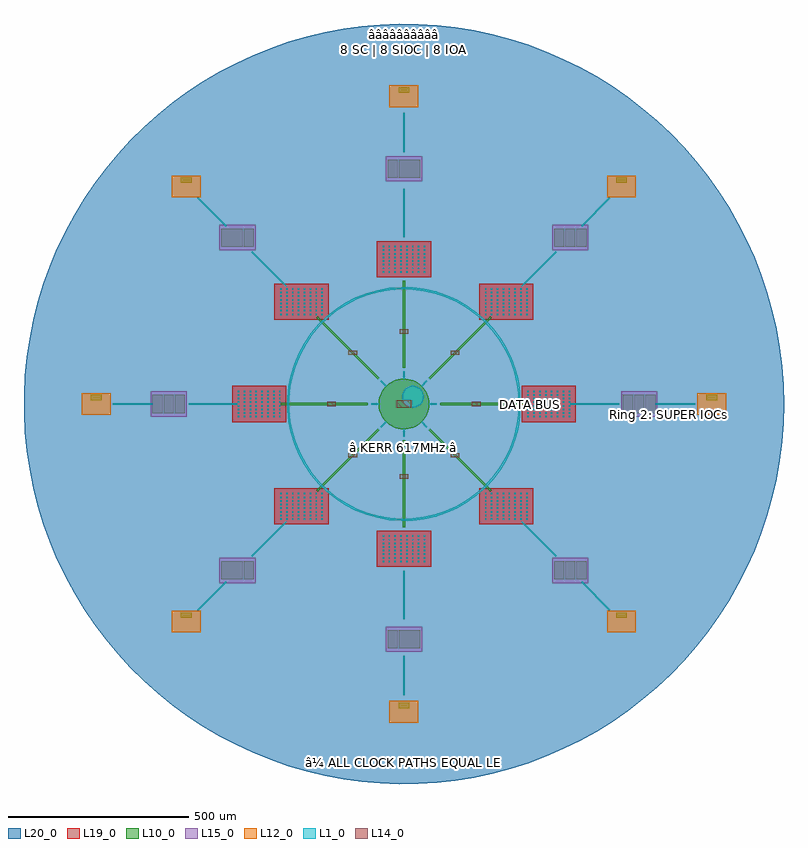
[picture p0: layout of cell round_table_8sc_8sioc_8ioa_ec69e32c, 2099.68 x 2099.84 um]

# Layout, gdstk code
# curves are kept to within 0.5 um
import gdstk
lib = gdstk.Library(unit=1e-6, precision=1e-09)
def R(c, l, rs):  # rectangles x0, y0, x1, y1
    for r in rs: c.add(gdstk.rectangle(r[:2], r[2:], *l))
def A(c, l, x, y, w, h, nx, ny, dx, dy):  # array of equal rectangles
    R(c, l, [(x+i*dx, y+j*dy, x+i*dx+w, y+j*dy+h) for i in range(nx) for j in range(ny)])
def P(c, l, *ps):  # polygons
    for p in ps: c.add(gdstk.Polygon(p, *l))
L1_0 = (1, 0)
L10_0 = (10, 0)
L12_0 = (12, 0)
L14_0 = (14, 0)
L15_0 = (15, 0)
L19_0 = (19, 0)
L20_0 = (20, 0)

kerr_clock_hub_cb069dfc = lib.new_cell('kerr_clock_hub_cb069dfc')
R(kerr_clock_hub_cb069dfc, L1_0, [(-2,-90,2,-70), (-90,-2,-70,2), (70,-2,90,2), (-2,70,2,90)])
P(kerr_clock_hub_cb069dfc, L1_0, [(24.252,-9.991),(18.324,-9.248),(12.661,-7.345),(7.488,-4.358),(3.008,-0.405),(-0.599,4.357),(-3.191,9.739),(-4.963,18.505),(-4.665,24.471),(-3.191,30.261),(-0.599,35.643),(3.008,40.405),(7.488,44.358),(12.661,47.345),(18.324,49.248),(24.252,49.991),(30.209,49.544),(35.96,47.926),(41.276,45.201),(45.947,41.476),(49.787,36.9),(52.644,31.653),(54.405,25.944),(55,20),(54.405,14.056),(52.644,8.347),(49.787,3.1),(45.947,-1.476),(41.276,-5.201),(35.96,-7.926),(30.209,-9.544)],
  [(50.912,48.083),(48.083,50.912),(62.225,65.054),(65.054,62.225)],
  [(-50.912,48.083),(-65.054,62.225),(-62.225,65.054),(-48.083,50.912)],
  [(-62.225,-65.054),(-65.054,-62.225),(-50.912,-48.083),(-48.083,-50.912)],
  [(62.225,-65.054),(48.083,-50.912),(50.912,-48.083),(65.054,-62.225)])
P(kerr_clock_hub_cb069dfc, L10_0, [(-1.745,-69.978),(-8.704,-69.457),(-22.294,-66.355),(-35,-60.622),(-46.318,-52.485),(-55.799,-42.266),(-63.068,-30.372),(-67.835,-17.273),(-69.913,-3.489),(-69.218,10.433),(-65.778,23.941),(-59.73,36.5),(-51.314,47.612),(-40.862,56.836),(-28.79,63.805),(-15.576,68.245),(-1.745,69.978),(12.155,68.937),(25.574,65.161),(37.978,58.802),(48.877,50.111),(57.837,39.432),(64.503,27.19),(68.612,13.87),(70,0),(68.612,-13.87),(64.503,-27.19),(57.837,-39.432),(48.877,-50.111),(37.978,-58.802),(25.574,-65.161),(12.155,-68.937)])
R(kerr_clock_hub_cb069dfc, L14_0, [(-20,-10,20,10)])
P(kerr_clock_hub_cb069dfc, L20_0, [(-2.493,-99.969),(-22.252,-97.493),(-41.129,-91.151),(-50,-86.603),(-66.169,-74.978),(-79.713,-60.38),(-90.097,-43.388),(-96.908,-24.676),(-99.876,-4.985),(-98.883,14.904),(-93.969,34.202),(-85.329,52.144),(-73.305,68.017),(-58.374,81.194),(-41.129,91.151),(-22.252,97.493),(-2.493,99.969),(17.365,98.481),(36.534,93.087),(54.255,84.003),(69.824,71.587),(82.624,56.332),(92.148,38.843),(98.017,19.815),(100,0),(98.017,-19.815),(92.148,-38.843),(82.624,-56.332),(69.824,-71.587),(54.255,-84.003),(36.534,-93.087),(17.365,-98.481)])
kerr_clock_hub_cb069dfc.add(gdstk.Label('KERR', (25,20), layer=100, texttype=0))
kerr_clock_hub_cb069dfc.add(gdstk.Label('617 MHz', (0,-40), layer=100, texttype=0))
kerr_clock_hub_cb069dfc.add(gdstk.Label('CLOCK HUB', (0,85), layer=100, texttype=0))

sc_module_0_3a25202a = lib.new_cell('sc_module_0_3a25202a')
A(sc_module_0_3a25202a, L1_0, 16.125, 13, 4, 4, 8, 8, 16.25, 10)
R(sc_module_0_3a25202a, L19_0, [(0,0,150,100)])
sc_module_0_3a25202a.add(gdstk.Label('SC-0', (75,50), layer=100, texttype=0))
sc_module_0_3a25202a.add(gdstk.Label('243Ã\x97243', (75,35), layer=100, texttype=0))

sc_module_1_5aa2c9c8 = lib.new_cell('sc_module_1_5aa2c9c8')
A(sc_module_1_5aa2c9c8, L1_0, 16.125, 13, 4, 4, 8, 8, 16.25, 10)
R(sc_module_1_5aa2c9c8, L19_0, [(0,0,150,100)])
sc_module_1_5aa2c9c8.add(gdstk.Label('SC-1', (75,50), layer=100, texttype=0))
sc_module_1_5aa2c9c8.add(gdstk.Label('243Ã\x97243', (75,35), layer=100, texttype=0))

sc_module_2_f2e90395 = lib.new_cell('sc_module_2_f2e90395')
A(sc_module_2_f2e90395, L1_0, 16.125, 13, 4, 4, 8, 8, 16.25, 10)
R(sc_module_2_f2e90395, L19_0, [(0,0,150,100)])
sc_module_2_f2e90395.add(gdstk.Label('SC-2', (75,50), layer=100, texttype=0))
sc_module_2_f2e90395.add(gdstk.Label('243Ã\x97243', (75,35), layer=100, texttype=0))

sc_module_3_a5796138 = lib.new_cell('sc_module_3_a5796138')
A(sc_module_3_a5796138, L1_0, 16.125, 13, 4, 4, 8, 8, 16.25, 10)
R(sc_module_3_a5796138, L19_0, [(0,0,150,100)])
sc_module_3_a5796138.add(gdstk.Label('SC-3', (75,50), layer=100, texttype=0))
sc_module_3_a5796138.add(gdstk.Label('243Ã\x97243', (75,35), layer=100, texttype=0))

sc_module_4_84ebc824 = lib.new_cell('sc_module_4_84ebc824')
A(sc_module_4_84ebc824, L1_0, 16.125, 13, 4, 4, 8, 8, 16.25, 10)
R(sc_module_4_84ebc824, L19_0, [(0,0,150,100)])
sc_module_4_84ebc824.add(gdstk.Label('SC-4', (75,50), layer=100, texttype=0))
sc_module_4_84ebc824.add(gdstk.Label('243Ã\x97243', (75,35), layer=100, texttype=0))

sc_module_5_9849b2e9 = lib.new_cell('sc_module_5_9849b2e9')
A(sc_module_5_9849b2e9, L1_0, 16.125, 13, 4, 4, 8, 8, 16.25, 10)
R(sc_module_5_9849b2e9, L19_0, [(0,0,150,100)])
sc_module_5_9849b2e9.add(gdstk.Label('SC-5', (75,50), layer=100, texttype=0))
sc_module_5_9849b2e9.add(gdstk.Label('243Ã\x97243', (75,35), layer=100, texttype=0))

sc_module_6_5569bb0a = lib.new_cell('sc_module_6_5569bb0a')
A(sc_module_6_5569bb0a, L1_0, 16.125, 13, 4, 4, 8, 8, 16.25, 10)
R(sc_module_6_5569bb0a, L19_0, [(0,0,150,100)])
sc_module_6_5569bb0a.add(gdstk.Label('SC-6', (75,50), layer=100, texttype=0))
sc_module_6_5569bb0a.add(gdstk.Label('243Ã\x97243', (75,35), layer=100, texttype=0))

sc_module_7_ca52da6f = lib.new_cell('sc_module_7_ca52da6f')
A(sc_module_7_ca52da6f, L1_0, 16.125, 13, 4, 4, 8, 8, 16.25, 10)
R(sc_module_7_ca52da6f, L19_0, [(0,0,150,100)])
sc_module_7_ca52da6f.add(gdstk.Label('SC-7', (75,50), layer=100, texttype=0))
sc_module_7_ca52da6f.add(gdstk.Label('243Ã\x97243', (75,35), layer=100, texttype=0))

sioc_slot_0_29fcc53c = lib.new_cell('sioc_slot_0_29fcc53c')
R(sioc_slot_0_29fcc53c, L10_0, [(5,10,33.333,60), (35.833,10,64.167,60), (66.667,10,95,60)])
R(sioc_slot_0_29fcc53c, L15_0, [(0,0,100,70)])
sioc_slot_0_29fcc53c.add(gdstk.Label('WL', (19.167,35), layer=100, texttype=0))
sioc_slot_0_29fcc53c.add(gdstk.Label('AS', (50,35), layer=100, texttype=0))
sioc_slot_0_29fcc53c.add(gdstk.Label('RC', (80.833,35), layer=100, texttype=0))
sioc_slot_0_29fcc53c.add(gdstk.Label('SIOC-0', (50,65), layer=100, texttype=0))

sioc_slot_1_ebdcf599 = lib.new_cell('sioc_slot_1_ebdcf599')
R(sioc_slot_1_ebdcf599, L10_0, [(5,10,33.333,60), (35.833,10,64.167,60), (66.667,10,95,60)])
R(sioc_slot_1_ebdcf599, L15_0, [(0,0,100,70)])
sioc_slot_1_ebdcf599.add(gdstk.Label('WL', (19.167,35), layer=100, texttype=0))
sioc_slot_1_ebdcf599.add(gdstk.Label('AS', (50,35), layer=100, texttype=0))
sioc_slot_1_ebdcf599.add(gdstk.Label('RC', (80.833,35), layer=100, texttype=0))
sioc_slot_1_ebdcf599.add(gdstk.Label('SIOC-1', (50,65), layer=100, texttype=0))

sioc_slot_2_a18b85a1 = lib.new_cell('sioc_slot_2_a18b85a1')
R(sioc_slot_2_a18b85a1, L10_0, [(5,10,33.333,60), (35.833,10,64.167,60), (66.667,10,95,60)])
R(sioc_slot_2_a18b85a1, L15_0, [(0,0,100,70)])
sioc_slot_2_a18b85a1.add(gdstk.Label('WL', (19.167,35), layer=100, texttype=0))
sioc_slot_2_a18b85a1.add(gdstk.Label('AS', (50,35), layer=100, texttype=0))
sioc_slot_2_a18b85a1.add(gdstk.Label('RC', (80.833,35), layer=100, texttype=0))
sioc_slot_2_a18b85a1.add(gdstk.Label('SIOC-2', (50,65), layer=100, texttype=0))

sioc_slot_3_78c3e4bc = lib.new_cell('sioc_slot_3_78c3e4bc')
R(sioc_slot_3_78c3e4bc, L10_0, [(5,10,33.333,60), (35.833,10,64.167,60), (66.667,10,95,60)])
R(sioc_slot_3_78c3e4bc, L15_0, [(0,0,100,70)])
sioc_slot_3_78c3e4bc.add(gdstk.Label('WL', (19.167,35), layer=100, texttype=0))
sioc_slot_3_78c3e4bc.add(gdstk.Label('AS', (50,35), layer=100, texttype=0))
sioc_slot_3_78c3e4bc.add(gdstk.Label('RC', (80.833,35), layer=100, texttype=0))
sioc_slot_3_78c3e4bc.add(gdstk.Label('SIOC-3', (50,65), layer=100, texttype=0))

sioc_slot_4_aadf772c = lib.new_cell('sioc_slot_4_aadf772c')
R(sioc_slot_4_aadf772c, L10_0, [(5,10,33.333,60), (35.833,10,64.167,60), (66.667,10,95,60)])
R(sioc_slot_4_aadf772c, L15_0, [(0,0,100,70)])
sioc_slot_4_aadf772c.add(gdstk.Label('WL', (19.167,35), layer=100, texttype=0))
sioc_slot_4_aadf772c.add(gdstk.Label('AS', (50,35), layer=100, texttype=0))
sioc_slot_4_aadf772c.add(gdstk.Label('RC', (80.833,35), layer=100, texttype=0))
sioc_slot_4_aadf772c.add(gdstk.Label('SIOC-4', (50,65), layer=100, texttype=0))

sioc_slot_5_731903a7 = lib.new_cell('sioc_slot_5_731903a7')
R(sioc_slot_5_731903a7, L10_0, [(5,10,33.333,60), (35.833,10,64.167,60), (66.667,10,95,60)])
R(sioc_slot_5_731903a7, L15_0, [(0,0,100,70)])
sioc_slot_5_731903a7.add(gdstk.Label('WL', (19.167,35), layer=100, texttype=0))
sioc_slot_5_731903a7.add(gdstk.Label('AS', (50,35), layer=100, texttype=0))
sioc_slot_5_731903a7.add(gdstk.Label('RC', (80.833,35), layer=100, texttype=0))
sioc_slot_5_731903a7.add(gdstk.Label('SIOC-5', (50,65), layer=100, texttype=0))

sioc_slot_6_c4ddcc10 = lib.new_cell('sioc_slot_6_c4ddcc10')
R(sioc_slot_6_c4ddcc10, L10_0, [(5,10,33.333,60), (35.833,10,64.167,60), (66.667,10,95,60)])
R(sioc_slot_6_c4ddcc10, L15_0, [(0,0,100,70)])
sioc_slot_6_c4ddcc10.add(gdstk.Label('WL', (19.167,35), layer=100, texttype=0))
sioc_slot_6_c4ddcc10.add(gdstk.Label('AS', (50,35), layer=100, texttype=0))
sioc_slot_6_c4ddcc10.add(gdstk.Label('RC', (80.833,35), layer=100, texttype=0))
sioc_slot_6_c4ddcc10.add(gdstk.Label('SIOC-6', (50,65), layer=100, texttype=0))

sioc_slot_7_61f60257 = lib.new_cell('sioc_slot_7_61f60257')
R(sioc_slot_7_61f60257, L10_0, [(5,10,33.333,60), (35.833,10,64.167,60), (66.667,10,95,60)])
R(sioc_slot_7_61f60257, L15_0, [(0,0,100,70)])
sioc_slot_7_61f60257.add(gdstk.Label('WL', (19.167,35), layer=100, texttype=0))
sioc_slot_7_61f60257.add(gdstk.Label('AS', (50,35), layer=100, texttype=0))
sioc_slot_7_61f60257.add(gdstk.Label('RC', (80.833,35), layer=100, texttype=0))
sioc_slot_7_61f60257.add(gdstk.Label('SIOC-7', (50,65), layer=100, texttype=0))

ioa_slot_0_fcb0be03 = lib.new_cell('ioa_slot_0_fcb0be03')
R(ioa_slot_0_fcb0be03, L10_0, [(25,40,55,55)])
R(ioa_slot_0_fcb0be03, L12_0, [(0,0,80,60)])
ioa_slot_0_fcb0be03.add(gdstk.Label('IOA-0', (40,20), layer=100, texttype=0))
ioa_slot_0_fcb0be03.add(gdstk.Label('MODULAR', (40,10), layer=100, texttype=0))

ioa_slot_1_877e8bb5 = lib.new_cell('ioa_slot_1_877e8bb5')
R(ioa_slot_1_877e8bb5, L10_0, [(25,40,55,55)])
R(ioa_slot_1_877e8bb5, L12_0, [(0,0,80,60)])
ioa_slot_1_877e8bb5.add(gdstk.Label('IOA-1', (40,20), layer=100, texttype=0))
ioa_slot_1_877e8bb5.add(gdstk.Label('MODULAR', (40,10), layer=100, texttype=0))

ioa_slot_2_462e05d1 = lib.new_cell('ioa_slot_2_462e05d1')
R(ioa_slot_2_462e05d1, L10_0, [(25,40,55,55)])
R(ioa_slot_2_462e05d1, L12_0, [(0,0,80,60)])
ioa_slot_2_462e05d1.add(gdstk.Label('IOA-2', (40,20), layer=100, texttype=0))
ioa_slot_2_462e05d1.add(gdstk.Label('MODULAR', (40,10), layer=100, texttype=0))

ioa_slot_3_b81e757f = lib.new_cell('ioa_slot_3_b81e757f')
R(ioa_slot_3_b81e757f, L10_0, [(25,40,55,55)])
R(ioa_slot_3_b81e757f, L12_0, [(0,0,80,60)])
ioa_slot_3_b81e757f.add(gdstk.Label('IOA-3', (40,20), layer=100, texttype=0))
ioa_slot_3_b81e757f.add(gdstk.Label('MODULAR', (40,10), layer=100, texttype=0))

ioa_slot_4_8506f5fa = lib.new_cell('ioa_slot_4_8506f5fa')
R(ioa_slot_4_8506f5fa, L10_0, [(25,40,55,55)])
R(ioa_slot_4_8506f5fa, L12_0, [(0,0,80,60)])
ioa_slot_4_8506f5fa.add(gdstk.Label('IOA-4', (40,20), layer=100, texttype=0))
ioa_slot_4_8506f5fa.add(gdstk.Label('MODULAR', (40,10), layer=100, texttype=0))

ioa_slot_5_7f77adff = lib.new_cell('ioa_slot_5_7f77adff')
R(ioa_slot_5_7f77adff, L10_0, [(25,40,55,55)])
R(ioa_slot_5_7f77adff, L12_0, [(0,0,80,60)])
ioa_slot_5_7f77adff.add(gdstk.Label('IOA-5', (40,20), layer=100, texttype=0))
ioa_slot_5_7f77adff.add(gdstk.Label('MODULAR', (40,10), layer=100, texttype=0))

ioa_slot_6_b6f18373 = lib.new_cell('ioa_slot_6_b6f18373')
R(ioa_slot_6_b6f18373, L10_0, [(25,40,55,55)])
R(ioa_slot_6_b6f18373, L12_0, [(0,0,80,60)])
ioa_slot_6_b6f18373.add(gdstk.Label('IOA-6', (40,20), layer=100, texttype=0))
ioa_slot_6_b6f18373.add(gdstk.Label('MODULAR', (40,10), layer=100, texttype=0))

ioa_slot_7_2b3bcf22 = lib.new_cell('ioa_slot_7_2b3bcf22')
R(ioa_slot_7_2b3bcf22, L10_0, [(25,40,55,55)])
R(ioa_slot_7_2b3bcf22, L12_0, [(0,0,80,60)])
ioa_slot_7_2b3bcf22.add(gdstk.Label('IOA-7', (40,20), layer=100, texttype=0))
ioa_slot_7_2b3bcf22.add(gdstk.Label('MODULAR', (40,10), layer=100, texttype=0))

round_table_8sc_8sioc_8i = lib.new_cell('round_table_8sc_8sioc_8ioa_ec69e32c')
R(round_table_8sc_8sioc_8i, L1_0, [(1048,245,1052,355), (1048,455,1052,590), (245,1048,355,1052), (455,1048,590,1052), (1510,1048,1645,1052), (1745,1048,1855,1052), (1048,1510,1052,1645), (1048,1745,1052,1855)])
P(round_table_8sc_8sioc_8i, L1_0, [(1469.314,627.857),(1373.855,723.317),(1376.683,726.145),(1472.143,630.686)],
  [(1376.683,1373.855),(1373.855,1376.683),(1469.314,1472.143),(1472.143,1469.314)],
  [(723.317,1373.855),(627.857,1469.314),(630.686,1472.143),(726.145,1376.683)],
  [(630.686,627.857),(627.857,630.686),(723.317,726.145),(726.145,723.317)],
  [(1617.807,479.365),(1540.025,557.147),(1542.853,559.975),(1620.635,482.193)],
  [(1542.853,1540.025),(1540.025,1542.853),(1617.807,1620.635),(1620.635,1617.807)],
  [(557.147,1540.025),(479.365,1617.807),(482.193,1620.635),(559.975,1542.853)],
  [(482.193,479.365),(479.365,482.193),(557.147,559.975),(559.975,557.147)],
  [(1367,1050),(1365.425,1081.563),(1371.395,1082.16),(1373,1050)],
  [(1365.425,1081.563),(1360.715,1112.812),(1366.596,1114.001),(1371.395,1082.16)],
  [(1360.715,1112.812),(1352.917,1143.437),(1358.65,1145.206),(1366.596,1114.001)],
  [(1352.917,1143.437),(1342.108,1173.134),(1347.637,1175.464),(1358.65,1145.206)],
  [(1342.108,1173.134),(1328.396,1201.607),(1333.666,1204.476),(1347.637,1175.464)],
  [(1328.396,1201.607),(1311.918,1228.572),(1316.875,1231.952),(1333.666,1204.476)],
  [(1311.918,1228.572),(1292.836,1253.764),(1297.432,1257.62),(1316.875,1231.952)],
  [(1292.836,1253.764),(1271.341,1276.93),(1275.53,1281.225),(1297.432,1257.62)],
  [(1271.341,1276.93),(1247.646,1297.841),(1251.387,1302.532),(1275.53,1281.225)],
  [(1247.646,1297.841),(1221.987,1316.288),(1225.242,1321.328),(1251.387,1302.532)],
  [(1221.987,1316.288),(1194.619,1332.089),(1197.356,1337.429),(1225.242,1321.328)],
  [(1194.619,1332.089),(1165.813,1345.087),(1168.005,1350.672),(1197.356,1337.429)],
  [(1165.813,1345.087),(1135.856,1355.152),(1137.481,1360.928),(1168.005,1350.672)],
  [(1135.856,1355.152),(1105.046,1362.184),(1106.088,1368.093),(1137.481,1360.928)],
  [(1105.046,1362.184),(1073.689,1366.114),(1074.138,1372.097),(1106.088,1368.093)],
  [(1073.689,1366.114),(1042.097,1366.901),(1041.947,1372.9),(1074.138,1372.097)],
  [(1010.583,1364.54),(1009.837,1370.493),(1041.947,1372.9),(1042.097,1366.901)],
  [(979.461,1359.052),(978.126,1364.902),(1009.837,1370.493),(1010.583,1364.54)],
  [(949.04,1350.493),(947.129,1356.181),(978.126,1364.902),(979.461,1359.052)],
  [(919.622,1338.947),(917.154,1344.416),(947.129,1356.181),(949.04,1350.493)],
  [(891.5,1324.53),(888.5,1329.726),(917.154,1344.416),(919.622,1338.947)],
  [(864.953,1307.384),(861.451,1312.256),(888.5,1329.726),(891.5,1324.53)],
  [(840.246,1287.681),(836.275,1292.179),(861.451,1312.256),(864.953,1307.384)],
  [(817.623,1265.615),(813.224,1269.696),(836.275,1292.179),(840.246,1287.681)],
  [(797.309,1241.406),(792.526,1245.029),(813.224,1269.696),(817.623,1265.615)],
  [(779.507,1215.295),(774.387,1218.424),(792.526,1245.029),(797.309,1241.406)],
  [(764.393,1187.541),(758.987,1190.144),(774.387,1218.424),(779.507,1215.295)],
  [(752.117,1158.42),(746.479,1160.473),(758.987,1190.144),(764.393,1187.541)],
  [(742.803,1128.222),(736.988,1129.703),(746.479,1160.473),(752.117,1158.42)],
  [(736.541,1097.246),(730.608,1098.141),(736.988,1129.703),(742.803,1128.222)],
  [(733.394,1065.801),(727.402,1066.1),(730.608,1098.141),(736.541,1097.246)],
  [(727.402,1033.9),(727.402,1066.1),(733.394,1065.801),(733.394,1034.199)],
  [(730.608,1001.859),(727.402,1033.9),(733.394,1034.199),(736.541,1002.754)],
  [(736.988,970.297),(730.608,1001.859),(736.541,1002.754),(742.803,971.778)],
  [(746.479,939.527),(736.988,970.297),(742.803,971.778),(752.117,941.58)],
  [(758.987,909.856),(746.479,939.527),(752.117,941.58),(764.393,912.459)],
  [(774.387,881.576),(758.987,909.856),(764.393,912.459),(779.507,884.705)],
  [(792.526,854.971),(774.387,881.576),(779.507,884.705),(797.309,858.594)],
  [(813.224,830.304),(792.526,854.971),(797.309,858.594),(817.623,834.385)],
  [(836.275,807.821),(813.224,830.304),(817.623,834.385),(840.246,812.319)],
  [(861.451,787.744),(836.275,807.821),(840.246,812.319),(864.953,792.616)],
  [(888.5,770.274),(861.451,787.744),(864.953,792.616),(891.5,775.47)],
  [(917.154,755.584),(888.5,770.274),(891.5,775.47),(919.622,761.053)],
  [(947.129,743.819),(917.154,755.584),(919.622,761.053),(949.04,749.507)],
  [(978.126,735.098),(947.129,743.819),(949.04,749.507),(979.461,740.948)],
  [(1009.837,729.507),(978.126,735.098),(979.461,740.948),(1010.583,735.46)],
  [(1041.947,727.1),(1009.837,729.507),(1010.583,735.46),(1042.097,733.099)],
  [(1041.947,727.1),(1042.097,733.099),(1073.689,733.886),(1074.138,727.903)],
  [(1074.138,727.903),(1073.689,733.886),(1105.046,737.816),(1106.088,731.907)],
  [(1106.088,731.907),(1105.046,737.816),(1135.856,744.848),(1137.481,739.072)],
  [(1137.481,739.072),(1135.856,744.848),(1165.813,754.913),(1168.005,749.328)],
  [(1168.005,749.328),(1165.813,754.913),(1194.619,767.911),(1197.356,762.571)],
  [(1197.356,762.571),(1194.619,767.911),(1221.987,783.712),(1225.242,778.672)],
  [(1225.242,778.672),(1221.987,783.712),(1247.646,802.159),(1251.387,797.468)],
  [(1251.387,797.468),(1247.646,802.159),(1271.341,823.07),(1275.53,818.775)],
  [(1275.53,818.775),(1271.341,823.07),(1292.836,846.236),(1297.432,842.38)],
  [(1297.432,842.38),(1292.836,846.236),(1311.918,871.428),(1316.875,868.048)],
  [(1316.875,868.048),(1311.918,871.428),(1328.396,898.393),(1333.666,895.524)],
  [(1333.666,895.524),(1328.396,898.393),(1342.108,926.866),(1347.637,924.536)],
  [(1347.637,924.536),(1342.108,926.866),(1352.917,956.563),(1358.65,954.794)],
  [(1358.65,954.794),(1352.917,956.563),(1360.715,987.188),(1366.596,985.999)],
  [(1366.596,985.999),(1360.715,987.188),(1365.425,1018.437),(1371.395,1017.84)],
  [(1371.395,1017.84),(1365.425,1018.437),(1367,1050),(1373,1050)])
R(round_table_8sc_8sioc_8i, L10_0, [(1047,710,1053,950), (710,1047,950,1053), (1150,1047,1390,1053), (1047,1150,1053,1390)])
P(round_table_8sc_8sioc_8i, L10_0, [(1288.295,807.462),(1118.589,977.168),(1122.832,981.411),(1292.538,811.705)],
  [(1122.832,1118.589),(1118.589,1122.832),(1288.295,1292.538),(1292.538,1288.295)],
  [(977.168,1118.589),(807.462,1288.295),(811.705,1292.538),(981.411,1122.832)],
  [(811.705,807.462),(807.462,811.705),(977.168,981.411),(981.411,977.168)])
R(round_table_8sc_8sioc_8i, L14_0, [(1038,844,1062,856), (896.579,902.579,920.579,914.579), (1179.421,902.579,1203.421,914.579), (838,1044,862,1056), (1238,1044,1262,1056), (896.579,1185.421,920.579,1197.421), (1179.421,1185.421,1203.421,1197.421), (1038,1244,1062,1256)])
P(round_table_8sc_8sioc_8i, L20_0, [(1037.013,0.08),(985.107,2.007),(933.359,6.499),(881.897,13.544),(830.846,23.125),(780.331,35.22),(730.477,49.798),(681.404,66.823),(633.233,86.255),(586.082,108.044),(540.067,132.139),(495.299,158.481),(451.889,187.003),(409.942,217.638),(369.562,250.31),(330.847,284.939),(293.892,321.44),(258.787,359.723),(225.618,399.696),(194.467,441.261),(165.409,484.315),(138.517,528.753),(113.854,574.467),(91.483,621.345),(71.457,669.272),(53.826,718.13),(38.633,767.801),(25.914,818.162),(15.702,869.091),(8.021,920.462),(2.89,972.15),(0.321,1024.029),(0.321,1075.971),(2.89,1127.85),(8.021,1179.538),(15.702,1230.909),(25.914,1281.838),(38.633,1332.199),(53.826,1381.87),(71.457,1430.728),(91.483,1478.655),(113.854,1525.533),(138.517,1571.247),(165.409,1615.685),(194.467,1658.739),(225.618,1700.304),(258.787,1740.277),(293.892,1778.56),(330.847,1815.061),(369.562,1849.69),(409.942,1882.362),(451.889,1912.997),(495.299,1941.519),(540.067,1967.861),(586.082,1991.956),(633.233,2013.745),(681.404,2033.177),(730.477,2050.202),(780.331,2064.78),(830.846,2076.875),(881.897,2086.456),(933.359,2093.501),(985.107,2097.993),(1037.013,2099.92),(1088.952,2099.277),(1140.795,2096.067),(1192.416,2090.297),(1243.688,2081.981),(1294.486,2071.14),(1344.686,2057.8),(1394.165,2041.993),(1442.802,2023.759),(1490.477,2003.142),(1537.075,1980.193),(1582.48,1954.967),(1626.582,1927.526),(1669.274,1897.939),(1710.45,1866.276),(1750.01,1832.615),(1787.856,1797.039),(1823.897,1759.636),(1858.045,1720.495),(1890.214,1679.714),(1920.328,1637.392),(1948.312,1593.632),(1974.097,1548.542),(1997.621,1502.232),(2018.826,1454.815),(2037.661,1406.408),(2054.078,1357.128),(2068.038,1307.097),(2079.507,1256.437),(2088.456,1205.271),(2094.864,1153.726),(2098.715,1101.926),(2100,1050),(2098.715,998.074),(2094.864,946.274),(2088.456,894.729),(2079.507,843.563),(2068.038,792.903),(2054.078,742.872),(2037.661,693.592),(2018.826,645.185),(1997.621,597.768),(1974.097,551.458),(1948.312,506.368),(1920.328,462.608),(1890.214,420.286),(1858.045,379.505),(1823.897,340.364),(1787.856,302.961),(1750.01,267.385),(1710.45,233.724),(1669.274,202.061),(1626.582,172.474),(1582.48,145.033),(1537.075,119.807),(1490.477,96.858),(1442.802,76.241),(1394.165,58.007),(1344.686,42.2),(1294.486,28.86),(1243.688,18.019),(1192.416,9.703),(1140.795,3.933),(1088.952,0.723)])
round_table_8sc_8sioc_8i.add(gdstk.Reference(kerr_clock_hub_cb069dfc, (1050,1050)))
round_table_8sc_8sioc_8i.add(gdstk.Reference(sc_module_0_3a25202a, (975,600)))
round_table_8sc_8sioc_8i.add(gdstk.Reference(sc_module_1_5aa2c9c8, (1257.843,717.157)))
round_table_8sc_8sioc_8i.add(gdstk.Reference(sc_module_2_f2e90395, (1375,1000)))
round_table_8sc_8sioc_8i.add(gdstk.Reference(sc_module_3_a5796138, (1257.843,1282.843)))
round_table_8sc_8sioc_8i.add(gdstk.Reference(sc_module_4_84ebc824, (975,1400)))
round_table_8sc_8sioc_8i.add(gdstk.Reference(sc_module_5_9849b2e9, (692.157,1282.843)))
round_table_8sc_8sioc_8i.add(gdstk.Reference(sc_module_6_5569bb0a, (575,1000)))
round_table_8sc_8sioc_8i.add(gdstk.Reference(sc_module_7_ca52da6f, (692.157,717.157)))
round_table_8sc_8sioc_8i.add(gdstk.Reference(sioc_slot_0_29fcc53c, (1000,365)))
round_table_8sc_8sioc_8i.add(gdstk.Reference(sioc_slot_1_ebdcf599, (1459.619,555.381)))
round_table_8sc_8sioc_8i.add(gdstk.Reference(sioc_slot_2_a18b85a1, (1650,1015)))
round_table_8sc_8sioc_8i.add(gdstk.Reference(sioc_slot_3_78c3e4bc, (1459.619,1474.619)))
round_table_8sc_8sioc_8i.add(gdstk.Reference(sioc_slot_4_aadf772c, (1000,1665)))
round_table_8sc_8sioc_8i.add(gdstk.Reference(sioc_slot_5_731903a7, (540.381,1474.619)))
round_table_8sc_8sioc_8i.add(gdstk.Reference(sioc_slot_6_c4ddcc10, (350,1015)))
round_table_8sc_8sioc_8i.add(gdstk.Reference(sioc_slot_7_61f60257, (540.381,555.381)))
round_table_8sc_8sioc_8i.add(gdstk.Reference(ioa_slot_0_fcb0be03, (1010,170)))
round_table_8sc_8sioc_8i.add(gdstk.Reference(ioa_slot_1_877e8bb5, (1611.041,418.959)))
round_table_8sc_8sioc_8i.add(gdstk.Reference(ioa_slot_2_462e05d1, (1860,1020)))
round_table_8sc_8sioc_8i.add(gdstk.Reference(ioa_slot_3_b81e757f, (1611.041,1621.041)))
round_table_8sc_8sioc_8i.add(gdstk.Reference(ioa_slot_4_8506f5fa, (1010,1870)))
round_table_8sc_8sioc_8i.add(gdstk.Reference(ioa_slot_5_7f77adff, (408.959,1621.041)))
round_table_8sc_8sioc_8i.add(gdstk.Reference(ioa_slot_6_b6f18373, (160,1020)))
round_table_8sc_8sioc_8i.add(gdstk.Reference(ioa_slot_7_2b3bcf22, (408.959,418.959)))
round_table_8sc_8sioc_8i.add(gdstk.Label('â\x98\x85 KERR 617MHz â\x98\x85', (1050,930), layer=100, texttype=0))
round_table_8sc_8sioc_8i.add(gdstk.Label('MASTER CLOCK', (1050,910), layer=100, texttype=0))
round_table_8sc_8sioc_8i.add(gdstk.Label('DATA BUS', (1400,1050), layer=100, texttype=0))
round_table_8sc_8sioc_8i.add(gdstk.Label('â\x95\x90â\x95\x90â\x95\x90â\x95\x90â\x95\x90â\x95\x90â\x95\x90â\x95\x90â\x95\x90â\x95\x90â\x95\x90â\x95\x90â\x95\x90â\x95\x90â\x95\x90â\x95\x90â\x95\x90â\x95\x90â\x95\x90â\x95\x90â\x95\x90â\x95\x90â\x95\x90â\x95\x90â\x95\x90â\x95\x90â\x95\x90â\x95\x90â\x95\x90â\x95\x90â\x95\x90â\x95\x90â\x95\x90â\x95\x90â\x95\x90â\x95\x90â\x95\x90â\x95\x90â\x95\x90â\x95\x90â\x95\x90â\x95\x90â\x95\x90â\x95\x90â\x95\x90â\x95\x90â\x95\x90â\x95\x90â\x95\x90â\x95\x90â\x95\x90', (1050,2070), layer=100, texttype=0))
round_table_8sc_8sioc_8i.add(gdstk.Label('ROUND TABLE BACKPLANE - OPTICAL SUPERCOMPUTER', (1050,2050), layer=100, texttype=0))
round_table_8sc_8sioc_8i.add(gdstk.Label('8 SC | 8 SIOC | 8 IOA', (1050,2030), layer=100, texttype=0))
round_table_8sc_8sioc_8i.add(gdstk.Label('â\x95\x90â\x95\x90â\x95\x90â\x95\x90â\x95\x90â\x95\x90â\x95\x90â\x95\x90â\x95\x90â\x95\x90â\x95\x90â\x95\x90â\x95\x90â\x95\x90â\x95\x90â\x95\x90â\x95\x90â\x95\x90â\x95\x90â\x95\x90â\x95\x90â\x95\x90â\x95\x90â\x95\x90â\x95\x90â\x95\x90â\x95\x90â\x95\x90â\x95\x90â\x95\x90â\x95\x90â\x95\x90â\x95\x90â\x95\x90â\x95\x90â\x95\x90â\x95\x90â\x95\x90â\x95\x90â\x95\x90â\x95\x90â\x95\x90â\x95\x90â\x95\x90â\x95\x90â\x95\x90â\x95\x90â\x95\x90â\x95\x90â\x95\x90â\x95\x90', (1050,2010), layer=100, texttype=0))
round_table_8sc_8sioc_8i.add(gdstk.Label('Ring 1: SUPERCOMPUTERS', (1550,1050), layer=100, texttype=0))
round_table_8sc_8sioc_8i.add(gdstk.Label('Ring 2: SUPER IOCs', (1780,1020), layer=100, texttype=0))
round_table_8sc_8sioc_8i.add(gdstk.Label('Ring 3: IOAs', (1960,990), layer=100, texttype=0))
round_table_8sc_8sioc_8i.add(gdstk.Label('â\x96¼ ALL CLOCK PATHS EQUAL LENGTH â\x96¼', (1050,60), layer=100, texttype=0))

lib.write_gds('round_table_8sc_8sioc_8ioa_ec69e32c.gds')
